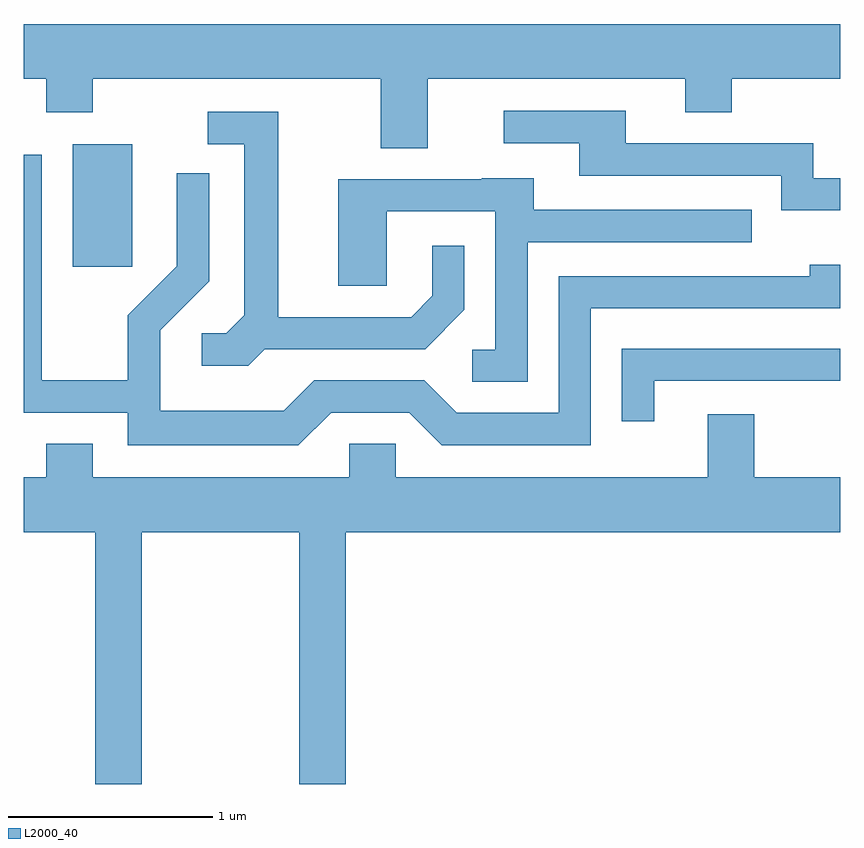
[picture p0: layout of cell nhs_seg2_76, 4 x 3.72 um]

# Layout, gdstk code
import gdstk
lib = gdstk.Library(unit=1e-6, precision=1e-09)
def R(c, l, rs):  # rectangles x0, y0, x1, y1
    for r in rs: c.add(gdstk.rectangle(r[:2], r[2:], *l))
def P(c, l, *ps):  # polygons
    for p in ps: c.add(gdstk.Polygon(p, *l))
L2000_40 = (2000, 40)

nhs_seg2_76 = lib.new_cell('nhs_seg2_76')
R(nhs_seg2_76, L2000_40, [(187.851,996.336,188.144,996.934)])
P(nhs_seg2_76, L2000_40, [(189.589,997.256),(190.851,997.256),(190.851,997.091),(191.079,997.091),(191.079,997.256),(191.611,997.256),(191.611,997.524),(187.611,997.524),(187.611,997.256),(187.721,997.256),(187.721,997.091),(187.949,997.091),(187.949,997.256),(189.361,997.256),(189.361,996.916),(189.589,996.916)],
  [(191.611,996.769),(191.479,996.769),(191.479,996.939),(190.559,996.939),(190.559,997.099),(189.963,997.099),(189.963,996.941),(190.331,996.941),(190.331,996.781),(191.321,996.781),(191.321,996.611),(191.611,996.611)],
  [(188.792,995.931),(189.577,995.931),(189.769,996.124),(189.769,996.438),(189.611,996.438),(189.611,996.192),(189.509,996.089),(188.859,996.089),(188.859,997.094),(188.513,997.094),(188.513,996.936),(188.691,996.936),(188.691,996.097),(188.604,996.009),(188.483,996.009),(188.483,995.851),(188.712,995.851)],
  [(189.117,995.621),(189.499,995.621),(189.659,995.461),(190.389,995.461),(190.389,996.131),(191.611,996.131),(191.611,996.344),(191.461,996.344),(191.461,996.289),(190.231,996.289),(190.231,995.619),(189.732,995.619),(189.572,995.779),(189.034,995.779),(188.884,995.629),(188.279,995.629),(188.279,996.024),(188.519,996.264),(188.519,996.793),(188.361,996.793),(188.361,996.337),(188.121,996.097),(188.121,995.779),(187.699,995.779),(187.699,996.884),(187.611,996.884),(187.611,995.621),(188.121,995.621),(188.121,995.461),(188.957,995.461)],
  [(190.079,996.456),(191.178,996.456),(191.178,996.614),(190.109,996.614),(190.109,996.769),(189.855,996.769),(189.855,996.764),(189.151,996.764),(189.151,996.241),(189.389,996.241),(189.389,996.606),(189.921,996.606),(189.921,995.929),(189.808,995.929),(189.808,995.771),(190.079,995.771)],
  [(190.699,995.776),(191.611,995.776),(191.611,995.934),(190.541,995.934),(190.541,995.578),(190.699,995.578)],
  [(188.189,995.036),(188.961,995.036),(188.961,993.802),(189.189,993.802),(189.189,995.036),(191.611,995.036),(191.611,995.304),(191.189,995.304),(191.189,995.614),(190.961,995.614),(190.961,995.304),(189.434,995.304),(189.434,995.469),(189.206,995.469),(189.206,995.304),(187.949,995.304),(187.949,995.469),(187.721,995.469),(187.721,995.304),(187.611,995.304),(187.611,995.036),(187.961,995.036),(187.961,993.802),(188.189,993.802)])

lib.write_gds('nhs_seg2_76.gds')
